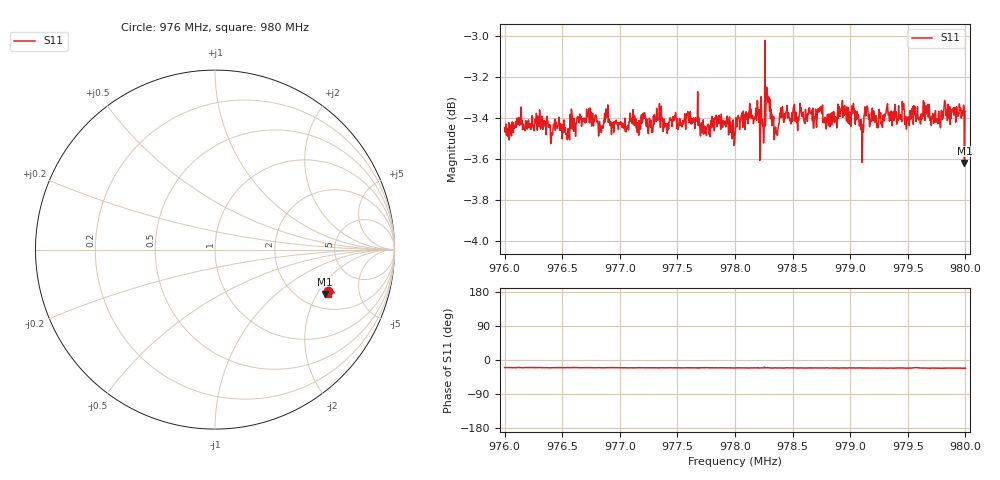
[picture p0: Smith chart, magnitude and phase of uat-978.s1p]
! Calibrated averaged scanner-service zoom
# Hz S RI R 50
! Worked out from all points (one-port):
!   1001 points, 976 MHz to 980 MHz, reference 50 ohm
!   lowest |S11| = -3.6 dB at 979.992 MHz (marker M1), VSWR 4.87, Z = 132 - j116 ohm
!   |S11| at or under -10 dB: nowhere
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9.76e8  0.632 -0.2296
9.76088e8  0.6326 -0.2291
9.765e8  0.6251 -0.2362
9.76732e8  0.6375 -0.2355
9.76836e8  0.6299 -0.2331
9.76888e8  0.6376 -0.2341
9.77e8  0.6314 -0.2352
9.77076e8  0.6281 -0.2379
9.775e8  0.6334 -0.2357
9.77664e8  0.6313 -0.2391
9.77748e8  0.6291 -0.2323
9.78e8  0.6241 -0.2412
9.78184e8  0.6324 -0.238
9.78232e8  0.63 -0.2401
9.78276e8  0.6443 -0.2406
9.78316e8  0.6318 -0.2449
9.78356e8  0.6266 -0.2408
9.785e8  0.631 -0.2393
9.79e8  0.6317 -0.2398
9.79096e8  0.631 -0.2407
9.7914e8  0.6321 -0.2474
9.795e8  0.6305 -0.2452
9.79576e8  0.6362 -0.2328
9.79676e8  0.6301 -0.2461
9.79728e8  0.6316 -0.2453
9.79796e8  0.6275 -0.2501
9.79992e8  0.6105 -0.2487
9.8e8  0.6319 -0.2472
